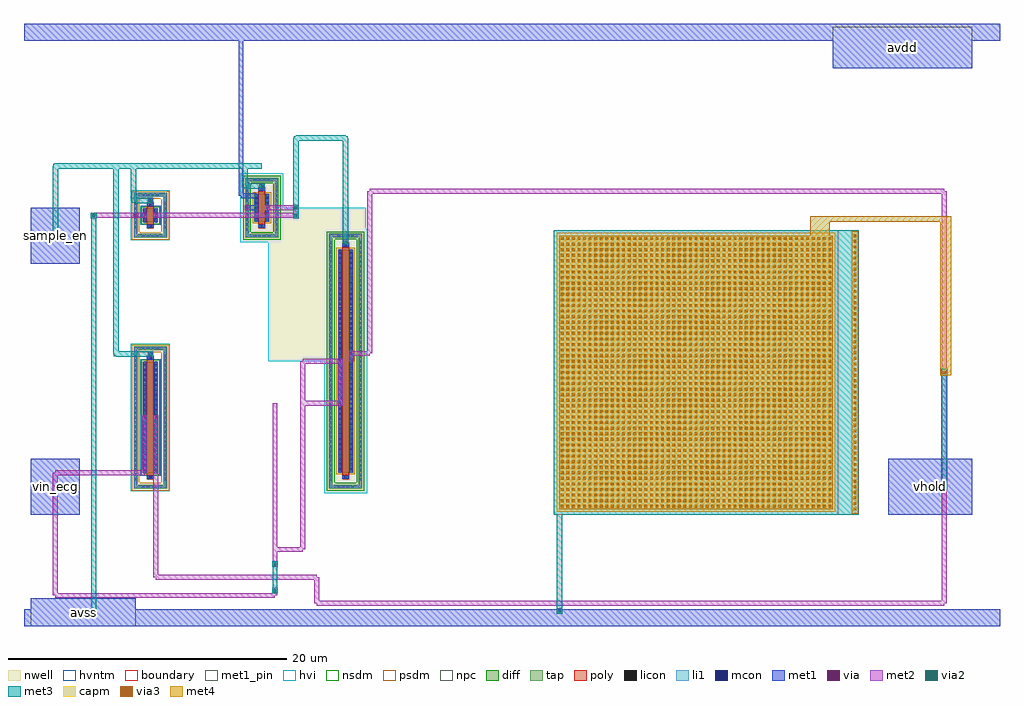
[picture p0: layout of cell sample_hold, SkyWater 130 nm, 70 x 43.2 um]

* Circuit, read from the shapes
.subckt sample_hold avdd avss sample_en vhold vin_ecg
XM1 vhold sample_en vin_ecg avss sky130_fd_pr__nfet_g5v0d10v5 w=8 l=0.5
XM2 n1 sample_en avss avss sky130_fd_pr__nfet_g5v0d10v5 w=1 l=0.5
XM3 n1 sample_en avdd avdd sky130_fd_pr__pfet_g5v0d10v5 w=2 l=0.5
XM4 vhold n1 vin_ecg avdd sky130_fd_pr__pfet_g5v0d10v5 w=16 l=0.5
XC5 vhold avss sky130_fd_pr__cap_mim_m3_1 w=20 l=20
.ends

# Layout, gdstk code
import gdstk
lib = gdstk.Library(unit=1e-6, precision=1e-09)
def R(c, l, rs):  # rectangles x0, y0, x1, y1
    for r in rs: c.add(gdstk.rectangle(r[:2], r[2:], *l))
def A(c, l, x, y, w, h, nx, ny, dx, dy):  # array of equal rectangles
    R(c, l, [(x+i*dx, y+j*dy, x+i*dx+w, y+j*dy+h) for i in range(nx) for j in range(ny)])
nwell = (64, 20)
diff = (65, 20)
tap = (65, 44)
poly = (66, 20)
licon = (66, 44)
li1 = (67, 20)
mcon = (67, 44)
met1_pin = (68, 16)
met1 = (68, 20)
via = (68, 44)
met2 = (69, 20)
via2 = (69, 44)
met3 = (70, 20)
via3 = (70, 44)
met4 = (71, 20)
hvi = (75, 20)
capm = (89, 44)
nsdm = (93, 44)
psdm = (94, 20)
npc = (95, 20)
hvntm = (125, 20)
boundary = (235, 4)

sample_hold = lib.new_cell('sample_hold')
R(sample_hold, nwell, [(21.525,9.525,24.605,28.495), (17.5,19.01,24.5,30.01), (15.525,27.525,18.605,32.495)])
R(sample_hold, diff, [(8.525,10.965,9.605,18.965), (22.525,11.01,23.605,27.01), (8.525,28.965,9.605,29.965), (16.525,29.01,17.605,31.01)])
R(sample_hold, tap, [(7.855,9.855,10.275,10.145), (21.855,9.855,24.275,10.145), (7.855,10.145,8.145,19.785), (9.985,10.145,10.275,19.785), (21.855,10.145,22.145,27.875), (23.985,10.145,24.275,27.875), (7.855,19.785,10.275,20.075), (7.855,27.855,10.275,28.145), (15.855,27.855,18.275,28.145), (21.855,27.875,24.275,28.165), (7.855,28.145,8.145,30.785), (9.985,28.145,10.275,30.785), (15.855,28.145,16.145,31.875), (17.985,28.145,18.275,31.875), (7.855,30.785,10.275,31.075), (15.855,31.875,18.275,32.165)])
R(sample_hold, poly, [(8.815,10.525,9.315,19.405), (22.815,10.525,23.315,27.495), (8.815,28.525,9.315,30.405), (16.815,28.525,17.315,31.495)])
A(sample_hold, licon, 8.47, 9.915, 0.17, 0.17, 4, 2, 0.34, 9.93)
A(sample_hold, licon, 22.47, 9.915, 0.17, 0.17, 4, 2, 0.34, 18.02)
A(sample_hold, licon, 21.915, 10.425, 0.17, 0.17, 1, 51, 0, 0.34)
A(sample_hold, licon, 24.045, 10.425, 0.17, 0.17, 1, 51, 0, 0.34)
A(sample_hold, licon, 7.915, 10.46, 0.17, 0.17, 1, 27, 0, 0.34)
A(sample_hold, licon, 10.045, 10.46, 0.17, 0.17, 1, 27, 0, 0.34)
A(sample_hold, licon, 22.585, 11.105, 0.17, 0.17, 1, 47, 0, 0.34)
A(sample_hold, licon, 23.375, 11.105, 0.17, 0.17, 1, 47, 0, 0.34)
A(sample_hold, licon, 8.585, 11.14, 0.17, 0.17, 1, 23, 0, 0.34)
A(sample_hold, licon, 9.375, 11.14, 0.17, 0.17, 1, 23, 0, 0.34)
A(sample_hold, licon, 8.47, 27.915, 0.17, 0.17, 4, 2, 0.34, 2.93)
A(sample_hold, licon, 16.47, 27.915, 0.17, 0.17, 4, 2, 0.34, 4.02)
A(sample_hold, licon, 15.915, 28.395, 0.17, 0.17, 1, 10, 0, 0.34)
A(sample_hold, licon, 18.045, 28.395, 0.17, 0.17, 1, 10, 0, 0.34)
A(sample_hold, licon, 7.915, 28.53, 0.17, 0.17, 1, 6, 0, 0.34)
A(sample_hold, licon, 10.045, 28.53, 0.17, 0.17, 1, 6, 0, 0.34)
A(sample_hold, licon, 8.585, 29.04, 0.17, 0.17, 1, 3, 0, 0.34)
A(sample_hold, licon, 9.375, 29.04, 0.17, 0.17, 1, 3, 0, 0.34)
A(sample_hold, licon, 16.585, 29.075, 0.17, 0.17, 1, 6, 0, 0.34)
A(sample_hold, licon, 17.375, 29.075, 0.17, 0.17, 1, 6, 0, 0.34)
R(sample_hold, licon, [(8.98,10.605,9.15,10.775), (22.98,10.605,23.15,10.775), (8.98,19.155,9.15,19.325), (22.98,27.245,23.15,27.415), (8.98,28.605,9.15,28.775), (16.98,28.605,17.15,28.775), (8.98,30.155,9.15,30.325), (16.98,31.245,17.15,31.415)])
R(sample_hold, li1, [(7.915,9.915,10.215,10.085), (21.915,9.915,24.215,10.085), (7.915,10.085,8.085,19.845), (10.045,10.085,10.215,19.845), (21.915,10.085,22.085,27.935), (24.045,10.085,24.215,27.935), (8.815,10.605,9.315,10.775), (22.815,10.605,23.315,10.775), (8.585,10.945,8.755,18.985), (9.375,10.945,9.545,18.985), (22.585,10.99,22.755,27.03), (23.375,10.99,23.545,27.03), (8.815,19.155,9.315,19.325), (7.915,19.845,10.215,20.015), (22.815,27.245,23.315,27.415), (7.915,27.915,10.215,28.085), (15.915,27.915,18.215,28.085), (21.915,27.935,24.215,28.105), (7.915,28.085,8.085,30.845), (10.045,28.085,10.215,30.845), (15.915,28.085,16.085,31.935), (18.045,28.085,18.215,31.935), (8.815,28.605,9.315,28.775), (16.815,28.605,17.315,28.775), (8.585,28.945,8.755,29.985), (9.375,28.945,9.545,29.985), (16.585,28.99,16.755,31.03), (17.375,28.99,17.545,31.03), (7.915,29.38,8.085,29.55), (15.915,29.925,16.085,30.095), (8.815,30.155,9.315,30.325), (7.915,30.845,10.215,31.015), (16.815,31.245,17.315,31.415), (15.915,31.935,18.215,32.105)])
A(sample_hold, mcon, 8.585, 11.1, 0.17, 0.17, 1, 22, 0, 0.36)
A(sample_hold, mcon, 9.375, 11.1, 0.17, 0.17, 1, 22, 0, 0.36)
A(sample_hold, mcon, 22.585, 11.185, 0.17, 0.17, 1, 44, 0, 0.36)
A(sample_hold, mcon, 23.375, 11.185, 0.17, 0.17, 1, 44, 0, 0.36)
A(sample_hold, mcon, 16.585, 29.205, 0.17, 0.17, 1, 5, 0, 0.36)
A(sample_hold, mcon, 17.375, 29.205, 0.17, 0.17, 1, 5, 0, 0.36)
R(sample_hold, mcon, [(8.98,10.605,9.15,10.775), (22.98,10.605,23.15,10.775), (8.98,19.155,9.15,19.325), (22.98,27.245,23.15,27.415), (8.98,28.605,9.15,28.775), (16.98,28.605,17.15,28.775), (8.585,29.2,8.755,29.37), (9.375,29.2,9.545,29.37), (7.915,29.38,8.085,29.55), (7.915,29.38,8.085,29.55), (8.585,29.56,8.755,29.73), (9.375,29.56,9.545,29.73), (15.915,29.925,16.085,30.095), (15.915,29.925,16.085,30.095), (8.98,30.155,9.15,30.325), (16.98,31.245,17.15,31.415)])
R(sample_hold, met1_pin, [(0.5,0,8,2), (0.5,8,4,12), (62,8,68,12), (0.5,26,4,30), (58,40,68,43)])
R(sample_hold, met1, [(0,0,70,1.2), (0.5,1.2,8,2), (38.22,1.2,38.58,1.28), (0.5,8,4,12), (62,8,68,12), (8.835,10.575,9.295,10.805), (22.835,10.575,23.295,10.805), (8.555,10.965,8.785,18.965), (9.345,10.965,9.575,18.965), (22.555,11.01,22.785,27.01), (23.345,11.01,23.575,27.01), (8.49,14.785,8.85,15.145), (9.28,14.785,9.64,15.145), (22.49,15.82,22.85,16.18), (22.49,18.83,22.85,19.19), (8.835,19.125,9.295,19.355), (8.925,19.245,9.205,19.335), (8.885,19.335,9.245,19.695), (23.28,19.38,23.64,19.74), (0.5,26,4,30), (22.835,27.215,23.295,27.445), (22.925,27.29,23.205,27.38), (22.885,27.38,23.245,27.74), (8.835,28.575,9.295,28.805), (16.835,28.575,17.295,28.805), (8.555,28.965,8.785,29.965), (9.345,28.965,9.575,29.965), (16.555,29.01,16.785,31.01), (17.345,29.01,17.575,31.01), (7.82,29.285,8.18,29.645), (8.49,29.285,8.85,29.645), (9.28,29.285,9.64,29.645), (15.82,29.83,16.18,29.835), (17.28,29.83,17.64,30.19), (15.82,29.835,16.67,30.185), (8.835,30.125,9.295,30.355), (15.82,30.185,16.18,30.19), (8.925,30.245,9.205,30.335), (8.885,30.335,9.245,30.695), (15.565,30.685,16.67,30.86), (15.39,30.86,16.67,31.035), (15.39,31.035,15.74,42), (16.835,31.215,17.295,31.445), (16.925,31.29,17.205,31.38), (16.885,31.38,17.245,31.74), (58,40,68,42), (0,42,70,43.2)])
R(sample_hold, via, [(4.925,1.025,5.075,1.175), (38.325,1.025,38.475,1.175), (2.175,9.925,2.325,10.075), (65.925,9.925,66.075,10.075), (65.925,9.925,66.075,10.075), (8.595,14.89,8.745,15.04), (9.385,14.89,9.535,15.04), (22.595,15.925,22.745,16.075), (22.595,18.935,22.745,19.085), (8.99,19.44,9.14,19.59), (23.385,19.485,23.535,19.635), (22.99,27.485,23.14,27.635), (2.175,27.925,2.325,28.075), (7.925,29.39,8.075,29.54), (8.595,29.39,8.745,29.54), (9.385,29.39,9.535,29.54), (15.925,29.935,16.075,30.085), (17.385,29.935,17.535,30.085), (8.99,30.44,9.14,30.59), (16.99,31.485,17.14,31.635)])
R(sample_hold, met2, [(4.8,0.9,5.2,1.3), (38.2,0.9,38.6,1.3), (21,1.475,66,1.65), (20.825,1.65,66.175,1.825), (20.825,1.825,21.175,3.325), (65.825,1.825,66.175,9.8), (2.25,2.025,18,2.2), (2.075,2.2,18.175,2.35), (2.075,2.35,18.2,2.375), (2.075,2.375,2.425,9.82), (17.8,2.375,18.2,2.75), (9.46,3.325,21.175,3.5), (9.285,3.5,21,3.675), (9.285,3.675,9.635,14.785), (17.8,4.25,18.2,4.65), (17.825,4.65,18.175,5.325), (17.825,5.325,20,5.5), (17.825,5.5,20.175,5.675), (17.825,5.675,18.175,16), (19.825,5.675,20.175,15.825), (65.8,9.8,66.2,10.2), (2.07,9.82,2.43,10.18), (2.075,10.18,2.425,10.825), (65.825,10.2,66.175,31.025), (2.075,10.825,8.67,11), (2.25,11,8.845,11.175), (8.495,11.175,8.845,14.785), (8.49,14.785,8.85,15.145), (9.28,14.785,9.64,15.145), (22.49,15.82,22.85,15.825), (19.825,15.825,22.85,16.175), (19.825,16.175,20.175,18.835), (22.49,16.175,22.85,16.18), (22.495,16.18,22.845,18.83), (22.49,18.83,22.85,18.835), (19.825,18.835,22.85,19.01), (20,19.01,22.85,19.185), (23.285,19.01,23.635,19.38), (22.49,19.185,22.85,19.19), (8.865,19.315,9.265,19.715), (23.28,19.38,23.64,19.385), (23.28,19.385,24.8,19.56), (23.28,19.56,24.975,19.735), (23.28,19.735,23.64,19.74), (24.625,19.735,24.975,31.025), (22.865,27.36,23.265,27.76), (2.05,27.8,2.45,28.2), (4.8,29.265,5.2,29.29), (19.3,29.265,19.7,29.29), (7.82,29.285,8.18,29.29), (8.49,29.285,8.85,29.29), (9.28,29.285,9.64,29.29), (4.8,29.29,8.85,29.64), (9.28,29.29,19.7,29.64), (4.8,29.64,5.2,29.665), (7.82,29.64,8.18,29.645), (8.49,29.64,8.85,29.645), (9.28,29.64,9.64,29.645), (19.3,29.64,19.7,29.835), (15.82,29.83,16.18,30.19), (17.28,29.83,17.64,29.835), (17.28,29.835,19.7,30.185), (17.28,30.185,17.64,30.19), (19.3,30.185,19.7,30.21), (8.865,30.315,9.265,30.715), (24.625,31.025,66.175,31.2), (24.8,31.2,66,31.375), (16.865,31.36,17.265,31.76)])
R(sample_hold, via2, [(4.9,1,5.1,1.2), (38.3,1,38.5,1.2), (17.9,2.45,18.1,2.65), (17.9,4.35,18.1,4.55), (65.9,9.9,66.1,10.1), (8.965,19.415,9.165,19.615), (22.965,27.46,23.165,27.66), (2.15,27.9,2.35,28.1), (4.9,29.365,5.1,29.565), (19.4,29.365,19.6,29.565), (19.4,29.91,19.6,30.11), (8.965,30.415,9.165,30.615), (16.965,31.46,17.165,31.66)])
R(sample_hold, met3, [(4.8,0.9,5.2,1.3), (38.2,0.9,38.6,9), (4.825,1.3,5.175,29.265), (17.8,2.35,18.2,2.75), (17.825,2.75,18.175,4.25), (17.8,4.25,18.2,4.65), (38,8,59.86,28.4), (65.8,9.8,66.2,17.95), (65.75,17.95,66.25,18.45), (6.6,19.315,9.265,19.365), (6.45,19.365,9.265,19.515), (6.4,19.515,9.265,19.715), (6.4,19.715,6.8,32.8), (22.865,27.36,23.265,34.8), (2.05,27.8,2.45,32.8), (4.8,29.265,5.2,29.665), (19.3,29.265,19.7,34.8), (7.865,30.315,9.265,30.365), (7.715,30.365,9.265,30.515), (7.665,30.515,9.265,30.715), (7.665,30.715,8.065,32.8), (15.865,31.36,17.265,31.41), (15.715,31.41,17.265,31.56), (15.665,31.56,17.265,31.76), (15.665,31.76,16.065,32.8), (2.05,32.8,17.065,33), (2.1,33,17.065,33.15), (2.25,33.15,17.065,33.2), (19.3,34.8,23.265,35), (19.35,35,23.215,35.15), (19.5,35.15,23.065,35.2)])
A(sample_hold, via3, 59.5, 8.3, 0.2, 0.2, 1, 50, 0, 0.4)
A(sample_hold, via3, 38.5, 8.5, 0.2, 0.2, 49, 49, 0.4, 0.4)
R(sample_hold, via3, [(65.9,18.1,66.1,18.3)])
R(sample_hold, met4, [(59.36,8.06,59.84,28.34), (38.395,8.395,58.005,28.005), (56.4,17.9,57.8,29), (65.75,17.95,66.25,18), (65.7,18,66.5,29), (56.4,29,66.5,29.4)])
R(sample_hold, hvi, [(21.525,9.525,24.605,28.495), (7.67,9.67,10.46,20.26), (17.5,19.01,21.525,27.525), (15.525,27.525,18.605,32.495), (18.605,27.525,21.525,28.495), (7.67,27.67,10.46,31.26), (18.605,28.495,24.5,30.01)])
R(sample_hold, capm, [(38.2,8.2,58.2,28.2)])
R(sample_hold, nsdm, [(21.73,9.73,24.4,10.27), (21.73,10.27,22.27,27.75), (23.86,10.27,24.4,27.75), (8.4,10.84,9.73,19.09), (15.73,27.73,18.4,28.27), (21.73,27.75,24.4,28.29), (15.73,28.27,16.27,31.75), (17.86,28.27,18.4,31.75), (8.4,28.84,9.73,30.09), (15.73,31.75,18.4,32.29)])
R(sample_hold, psdm, [(7.73,9.73,10.4,10.27), (7.73,10.27,8.27,19.66), (9.86,10.27,10.4,19.66), (22.4,10.885,23.73,27.135), (7.73,19.66,10.4,20.2), (7.73,27.73,10.4,28.27), (7.73,28.27,8.27,30.66), (9.86,28.27,10.4,30.66), (16.4,28.885,17.73,31.135), (7.73,30.66,10.4,31.2)])
R(sample_hold, npc, [(8.88,10.505,9.25,10.875), (22.88,10.505,23.25,10.875), (8.88,19.055,9.25,19.425), (22.88,27.145,23.25,27.515), (8.88,28.505,9.25,28.875), (16.88,28.505,17.25,28.875), (8.88,30.055,9.25,30.425), (16.88,31.145,17.25,31.515)])
R(sample_hold, hvntm, [(8.34,10.78,9.79,19.15), (8.34,28.78,9.79,30.15)])
R(sample_hold, boundary, [(38,8,58.4,28.4), (8,10,10.13,19.93), (22,10,24.13,28.02), (8,28,10.13,30.93), (16,28,18.13,32.02)])
sample_hold.add(gdstk.Label('vin_ecg', (2.25,10), layer=68, texttype=5))
sample_hold.add(gdstk.Label('vhold', (65,10), layer=68, texttype=5))
sample_hold.add(gdstk.Label('sample_en', (2.25,28), layer=68, texttype=5))
sample_hold.add(gdstk.Label('avdd', (63,41.5), layer=68, texttype=5))
sample_hold.add(gdstk.Label('avss', (4.25,1), layer=68, texttype=5))

lib.write_gds('sample_hold.gds')
